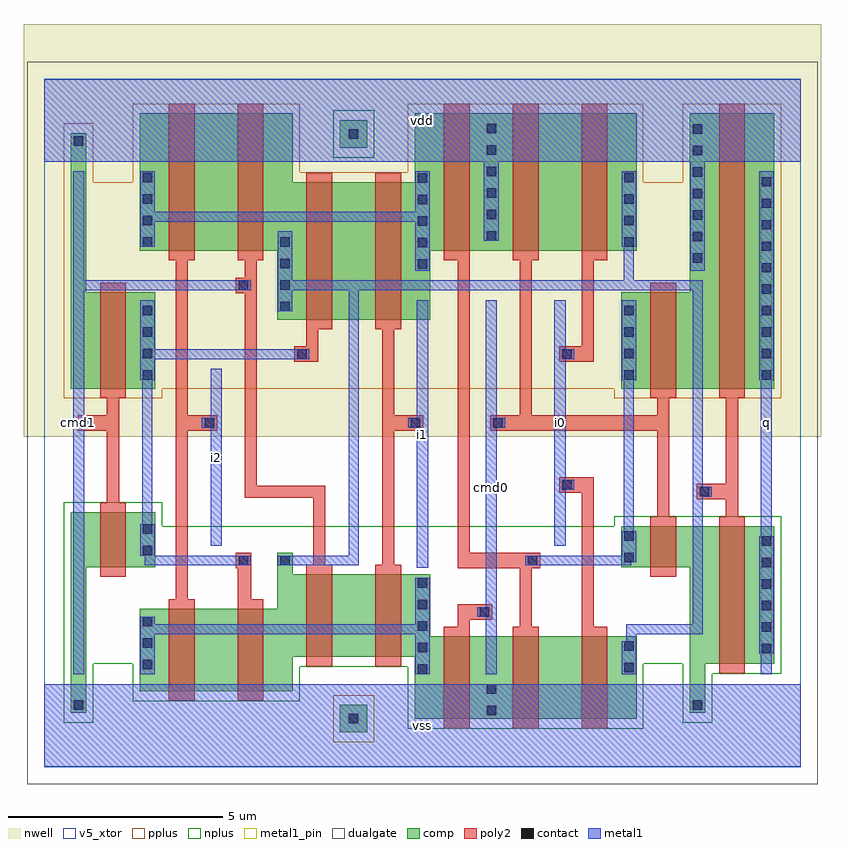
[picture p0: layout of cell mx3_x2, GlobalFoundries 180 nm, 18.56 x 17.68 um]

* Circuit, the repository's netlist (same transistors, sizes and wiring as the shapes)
* mx3_x2
.subckt mx3_x2 vdd vss q cmd0 cmd1 i0 i1 i2
Mp_net3_1 _net5 _net3 _net6 vdd pfet_06v0 l=0.6um w=3.2um
Mn_net3_1 _net9 _net3 _net5 vss nfet_06v0 l=0.6um w=1.92um
Mn_net4_1 vss _net4 _net7 vss nfet_06v0 l=0.6um w=1.92um
Mp_net4_1 _net0 _net4 vdd vdd pfet_06v0 l=0.6um w=3.2um
Mp_net5_1 vdd _net5 q vdd pfet_06v0 l=0.6um w=6.4um
Mn_net5_1 vss _net5 q vss nfet_06v0 l=0.6um w=3.2um
Mp_cmd0_1 _net4 cmd0 vdd vdd pfet_06v0 l=0.6um w=2.24um
Mn_cmd0_1 _net4 cmd0 vss vss nfet_06v0 l=0.6um w=0.96um
Mn_cmd0_2 _net1 cmd0 vss vss nfet_06v0 l=0.6um w=1.92um
Mp_cmd0_2 vdd cmd0 _net2 vdd pfet_06v0 l=0.6um w=3.2um
Mn_cmd1_2 _net5 cmd1 _net10 vss nfet_06v0 l=0.6um w=1.92um
Mn_cmd1_1 vss cmd1 _net3 vss nfet_06v0 l=0.6um w=1.28um
Mp_cmd1_1 vdd cmd1 _net3 vdd pfet_06v0 l=0.6um w=2.24um
Mp_cmd1_2 _net8 cmd1 _net5 vdd pfet_06v0 l=0.6um w=3.2um
Mn_i0_1 _net7 i0 _net5 vss nfet_06v0 l=0.6um w=1.92um
Mp_i0_1 _net2 i0 _net5 vdd pfet_06v0 l=0.6um w=3.2um
Mp_i1_1 _net6 i1 _net0 vdd pfet_06v0 l=0.6um w=3.2um
Mn_i1_1 _net10 i1 _net1 vss nfet_06v0 l=0.6um w=1.92um
Mp_i2_1 _net0 i2 _net8 vdd pfet_06v0 l=0.6um w=3.2um
Mn_i2_1 _net1 i2 _net9 vss nfet_06v0 l=0.6um w=1.92um
.ends mx3_x2

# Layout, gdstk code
import gdstk
lib = gdstk.Library(unit=1e-6, precision=1e-09)
def R(c, l, rs):  # rectangles x0, y0, x1, y1
    for r in rs: c.add(gdstk.rectangle(r[:2], r[2:], *l))
def A(c, l, x, y, w, h, nx, ny, dx, dy):  # array of equal rectangles
    R(c, l, [(x+i*dx, y+j*dy, x+i*dx+w, y+j*dy+h) for i in range(nx) for j in range(ny)])
def P(c, l, *ps):  # polygons
    for p in ps: c.add(gdstk.Polygon(p, *l))
nwell = (21, 0)
comp = (22, 0)
poly2 = (30, 0)
pplus = (31, 0)
nplus = (32, 0)
contact = (33, 0)
metal1 = (34, 0)
metal1_pin = (34, 10)
dualgate = (55, 0)
v5_xtor = (112, 1)

mx3_x2 = lib.new_cell('mx3_x2')
R(mx3_x2, nwell, [(-0.48,7.68,18.08,17.28)])
R(mx3_x2, comp, [(6.88,0.8,7.52,1.44), (6.88,14.4,7.52,15.04)])
P(mx3_x2, comp, [(8.62,1.12),(8.62,2.56),(5.78,2.56),(5.78,1.76),(2.22,1.76),(2.22,3.68),(5.42,3.68),(5.42,4.98),(5.78,4.98),(5.78,4.48),(8.98,4.48),(8.98,3.04),(13.78,3.04),(13.78,1.12)],
  [(5.42,10.4),(5.42,12),(2.22,12),(2.22,15.2),(5.78,15.2),(5.78,13.6),(8.62,13.6),(8.62,15.2),(13.78,15.2),(13.78,12),(8.98,12),(8.98,10.4)],
  [(13.42,8.8),(13.42,11.04),(15.02,11.04),(15.02,15.2),(16.98,15.2),(16.98,8.8)],
  [(0.62,8.8),(0.62,14.74),(0.98,14.74),(0.98,11.04),(2.58,11.04),(2.58,8.8)],
  [(0.62,1.26),(0.62,5.92),(2.58,5.92),(2.58,4.64),(0.98,4.64),(0.98,1.26)],
  [(15.02,1.26),(15.02,4.64),(13.42,4.64),(13.42,5.6),(16.98,5.6),(16.98,2.4),(15.38,2.4),(15.38,1.26)])
P(mx3_x2, poly2, [(15.7,2.18),(15.7,5.82),(15.86,5.82),(15.86,6.22),(15.18,6.22),(15.18,6.58),(15.86,6.58),(15.86,8.58),(15.7,8.58),(15.7,15.42),(16.3,15.42),(16.3,8.58),(16.14,8.58),(16.14,5.82),(16.3,5.82),(16.3,2.18)],
  [(4.5,1.54),(4.5,4.62),(4.46,4.62),(4.46,4.98),(4.82,4.98),(4.82,3.9),(5.1,3.9),(5.1,1.54)],
  [(5.82,9.42),(5.82,9.78),(6.1,9.78),(6.1,13.82),(6.7,13.82),(6.7,10.18),(6.38,10.18),(6.38,9.42)],
  [(10.9,0.9),(10.9,3.26),(11.06,3.26),(11.06,4.62),(9.62,4.62),(9.62,11.78),(9.3,11.78),(9.3,15.42),(9.9,15.42),(9.9,4.98),(11.54,4.98),(11.54,4.62),(11.34,4.62),(11.34,3.26),(11.5,3.26),(11.5,0.9)],
  [(9.3,0.9),(9.3,3.26),(9.62,3.26),(9.62,3.78),(10.42,3.78),(10.42,3.42),(9.9,3.42),(9.9,0.9)],
  [(14.1,4.42),(14.1,5.82),(14.26,5.82),(14.26,7.82),(10.38,7.82),(10.38,8.18),(11.06,8.18),(11.06,11.78),(10.9,11.78),(10.9,15.42),(11.5,15.42),(11.5,11.78),(11.34,11.78),(11.34,8.18),(14.26,8.18),(14.26,8.58),(14.1,8.58),(14.1,11.26),(14.7,11.26),(14.7,8.58),(14.54,8.58),(14.54,5.82),(14.7,5.82),(14.7,4.42)],
  [(1.3,4.42),(1.3,6.14),(1.46,6.14),(1.46,7.82),(0.78,7.82),(0.78,8.18),(1.46,8.18),(1.46,8.58),(1.3,8.58),(1.3,11.26),(1.9,11.26),(1.9,8.58),(1.74,8.58),(1.74,6.14),(1.9,6.14),(1.9,4.42)],
  [(6.1,2.34),(6.1,4.7),(6.26,4.7),(6.26,6.26),(4.66,6.26),(4.66,11.02),(4.46,11.02),(4.46,11.38),(4.66,11.38),(4.66,11.78),(4.5,11.78),(4.5,15.42),(5.1,15.42),(5.1,11.78),(4.94,11.78),(4.94,6.54),(6.54,6.54),(6.54,4.7),(6.7,4.7),(6.7,2.34)],
  [(11.98,9.42),(11.98,9.78),(12.5,9.78),(12.5,15.42),(13.1,15.42),(13.1,11.78),(12.78,11.78),(12.78,9.42)],
  [(12.5,0.9),(12.5,6.38),(11.98,6.38),(11.98,6.74),(12.78,6.74),(12.78,3.26),(13.1,3.26),(13.1,0.9)],
  [(7.7,2.34),(7.7,4.7),(7.86,4.7),(7.86,10.18),(7.7,10.18),(7.7,13.82),(8.3,13.82),(8.3,10.18),(8.14,10.18),(8.14,8.18),(8.82,8.18),(8.82,7.82),(8.14,7.82),(8.14,4.7),(8.3,4.7),(8.3,2.34)],
  [(2.9,1.54),(2.9,3.9),(3.06,3.9),(3.06,11.78),(2.9,11.78),(2.9,15.42),(3.5,15.42),(3.5,11.78),(3.34,11.78),(3.34,8.18),(4.02,8.18),(4.02,7.82),(3.34,7.82),(3.34,3.9),(3.5,3.9),(3.5,1.54)])
R(mx3_x2, pplus, [(6.72,0.57,7.68,1.67)])
P(mx3_x2, pplus, [(0.46,8.57),(0.46,14.97),(1.14,14.97),(1.14,13.6),(2.06,13.6),(2.06,15.43),(5.94,15.43),(5.94,13.83),(8.46,13.83),(8.46,15.43),(13.94,15.43),(13.94,13.6),(14.86,13.6),(14.86,15.43),(17.14,15.43),(17.14,8.57),(13.26,8.57),(13.26,8.8),(2.74,8.8),(2.74,8.57)])
R(mx3_x2, nplus, [(6.72,14.17,7.68,15.27)])
P(mx3_x2, nplus, [(8.46,0.89),(8.46,2.33),(5.94,2.33),(5.94,1.53),(2.06,1.53),(2.06,2.4),(1.14,2.4),(1.14,1.03),(0.46,1.03),(0.46,6.15),(2.74,6.15),(2.74,5.6),(13.26,5.6),(13.26,5.83),(17.14,5.83),(17.14,2.17),(15.54,2.17),(15.54,1.03),(14.86,1.03),(14.86,2.4),(13.94,2.4),(13.94,0.89)])
A(mx3_x2, contact, 8.69, 2.17, 0.22, 0.22, 1, 5, 0, 0.5)
A(mx3_x2, contact, 2.29, 2.27, 0.22, 0.22, 1, 3, 0, 0.5)
A(mx3_x2, contact, 16.69, 2.64, 0.22, 0.22, 1, 6, 0, 0.5)
A(mx3_x2, contact, 2.29, 9, 0.22, 0.22, 1, 4, 0, 0.5)
A(mx3_x2, contact, 13.49, 9, 0.22, 0.22, 1, 4, 0, 0.5)
A(mx3_x2, contact, 16.69, 9, 0.22, 0.22, 1, 10, 0, 0.5)
A(mx3_x2, contact, 5.49, 10.6, 0.22, 0.22, 1, 4, 0, 0.5)
A(mx3_x2, contact, 8.69, 11.59, 0.22, 0.22, 1, 5, 0, 0.5)
A(mx3_x2, contact, 15.09, 11.73, 0.22, 0.22, 1, 7, 0, 0.5)
A(mx3_x2, contact, 2.29, 12.1, 0.22, 0.22, 1, 4, 0, 0.5)
A(mx3_x2, contact, 13.49, 12.1, 0.22, 0.22, 1, 4, 0, 0.5)
A(mx3_x2, contact, 10.29, 12.24, 0.22, 0.22, 1, 6, 0, 0.5)
R(mx3_x2, contact, [(7.09,1.01,7.31,1.23), (10.29,1.195,10.51,1.415), (0.69,1.33,0.91,1.55), (15.09,1.33,15.31,1.55), (10.29,1.695,10.51,1.915), (13.49,2.2,13.71,2.42), (13.49,2.7,13.71,2.92), (10.13,3.49,10.35,3.71), (4.53,4.69,4.75,4.91), (5.49,4.69,5.71,4.91), (11.25,4.69,11.47,4.91), (13.49,4.76,13.71,4.98), (2.29,4.92,2.51,5.14), (13.49,5.26,13.71,5.48), (2.29,5.42,2.51,5.64), (15.25,6.29,15.47,6.51), (12.05,6.45,12.27,6.67), (0.85,7.89,1.07,8.11), (3.73,7.89,3.95,8.11), (8.53,7.89,8.75,8.11), (10.45,7.89,10.67,8.11), (5.89,9.49,6.11,9.71), (12.05,9.49,12.27,9.71), (4.53,11.09,4.75,11.31), (0.69,14.45,0.91,14.67), (7.09,14.61,7.31,14.83)])
R(mx3_x2, metal1, [(0,0,17.6,1.92)])
P(mx3_x2, metal1, [(13.43,2.15),(13.43,2.925),(13.54,2.925),(13.54,3.315),(15.085,3.315),(15.085,11.085),(7.315,11.085),(7.315,4.685),(5.43,4.685),(5.43,4.915),(7.085,4.915),(7.085,11.085),(5.77,11.085),(5.77,10.595),(5.43,10.595),(5.43,12.455),(5.77,12.455),(5.77,11.315),(13.485,11.315),(13.485,12.095),(13.43,12.095),(13.43,13.85),(13.77,13.85),(13.77,12.095),(13.715,12.095),(13.715,11.315),(15.315,11.315),(15.315,6.515),(15.53,6.515),(15.53,6.285),(15.315,6.285),(15.315,3.085),(13.77,3.085),(13.77,2.15)],
  [(15.03,11.545),(15.03,14.08),(10.57,14.08),(10.57,12.235),(10.23,12.235),(10.23,14.08),(0,14.08),(0,16),(17.6,16),(17.6,14.08),(15.37,14.08),(15.37,11.545)],
  [(2.34,4.685),(2.34,4.915),(2.23,4.915),(2.23,5.645),(2.285,5.645),(2.285,8.995),(2.23,8.995),(2.23,10.855),(2.57,10.855),(2.57,9.715),(6.17,9.715),(6.17,9.485),(2.57,9.485),(2.57,8.995),(2.515,8.995),(2.515,5.645),(2.57,5.645),(2.57,4.915),(4.81,4.915),(4.81,4.685)],
  [(11.19,4.685),(11.19,4.915),(13.43,4.915),(13.43,5.485),(13.485,5.485),(13.485,8.995),(13.43,8.995),(13.43,10.855),(13.77,10.855),(13.77,8.995),(13.715,8.995),(13.715,5.485),(13.77,5.485),(13.77,4.755),(13.66,4.755),(13.66,4.685)],
  [(8.63,11.545),(8.63,12.685),(2.57,12.685),(2.57,12.095),(2.23,12.095),(2.23,13.85),(2.57,13.85),(2.57,12.915),(8.63,12.915),(8.63,13.85),(8.97,13.85),(8.97,11.545)],
  [(16.67,2.15),(16.67,2.635),(16.63,2.635),(16.63,5.365),(16.67,5.365),(16.67,8.995),(16.63,8.995),(16.63,13.85),(16.97,13.85),(16.97,8.995),(16.93,8.995),(16.93,5.365),(16.97,5.365),(16.97,2.635),(16.93,2.635),(16.93,2.15)],
  [(10.27,2.15),(10.27,3.485),(10.07,3.485),(10.07,3.715),(10.27,3.715),(10.27,10.855),(10.53,10.855),(10.53,8.115),(10.73,8.115),(10.73,7.885),(10.53,7.885),(10.53,2.15)],
  [(2.23,2.15),(2.23,3.495),(2.57,3.495),(2.57,3.315),(8.63,3.315),(8.63,4.395),(8.97,4.395),(8.97,2.15),(8.63,2.15),(8.63,3.085),(2.57,3.085),(2.57,2.15)],
  [(0.67,2.15),(0.67,13.85),(0.93,13.85),(0.93,11.315),(4.81,11.315),(4.81,11.085),(0.93,11.085),(0.93,8.115),(1.13,8.115),(1.13,7.885),(0.93,7.885),(0.93,2.15)],
  [(11.87,5.145),(11.87,10.855),(12.13,10.855),(12.13,9.715),(12.33,9.715),(12.33,9.485),(12.13,9.485),(12.13,6.675),(12.33,6.675),(12.33,6.445),(12.13,6.445),(12.13,5.145)],
  [(8.67,4.625),(8.67,7.885),(8.47,7.885),(8.47,8.115),(8.67,8.115),(8.67,10.855),(8.93,10.855),(8.93,4.625)],
  [(3.87,5.145),(3.87,7.885),(3.67,7.885),(3.67,8.115),(3.87,8.115),(3.87,9.255),(4.13,9.255),(4.13,5.145)])
R(mx3_x2, metal1_pin, [(0,0,17.6,1.92), (0.67,2.15,0.93,13.85), (10.27,2.15,10.53,10.855), (16.67,2.15,16.93,13.85), (8.67,4.625,8.93,10.855), (3.87,5.145,4.13,9.255), (11.87,5.145,12.13,10.855), (0,14.08,17.6,16)])
R(mx3_x2, dualgate, [(-0.4,-0.4,18,16.4)])
R(mx3_x2, v5_xtor, [(-0.005,-0.005,17.605,16.005)])
mx3_x2.add(gdstk.Label('vdd', (8.8,15.04), layer=34, texttype=10))
mx3_x2.add(gdstk.Label('vss', (8.8,0.96), layer=34, texttype=10))
mx3_x2.add(gdstk.Label('q', (16.8,8), layer=34, texttype=10))
mx3_x2.add(gdstk.Label('cmd0', (10.4,6.503), layer=34, texttype=10))
mx3_x2.add(gdstk.Label('cmd1', (0.8,8), layer=34, texttype=10))
mx3_x2.add(gdstk.Label('i0', (12,8), layer=34, texttype=10))
mx3_x2.add(gdstk.Label('i1', (8.8,7.74), layer=34, texttype=10))
mx3_x2.add(gdstk.Label('i2', (4,7.2), layer=34, texttype=10))

lib.write_gds('mx3_x2.gds')
